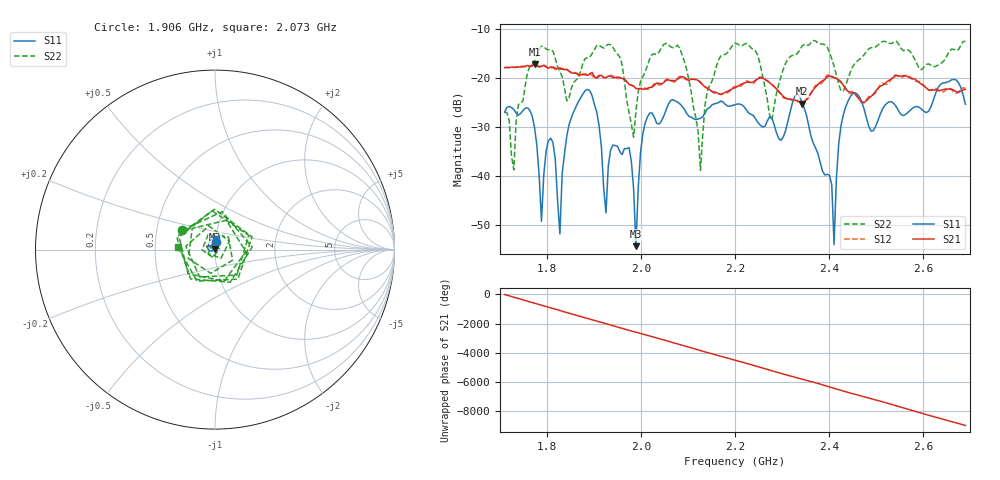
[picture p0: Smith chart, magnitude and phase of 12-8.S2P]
!Agilent Technologies,E5061B,MY49305579,A.02.22
!Date: Thu Aug 24 16:23:33 2017
!Data & Calibration Information:
!Freq	S11:SOLT2(ON)	S21:SOLT2(ON)	S12:SOLT2(ON)	S22:SOLT2(ON)
# Hz S dB R 50
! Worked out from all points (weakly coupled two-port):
!   201 points, 1.71 GHz to 2.69 GHz, reference 50 ohm
!   highest |S21| = -17.23 dB at 1.774 GHz (marker M1); lowest = -25.3 dB at 2.342 GHz (marker M2)
!   lowest |S11| = -54.4 dB at 1.989 GHz (marker M3), VSWR 1.00, Z = 49.9 + j0.163 ohm
!   |S11| at or under -10 dB: start of sweep to end of sweep
!   |S22| runs from -38.9 to -12.4 dB; largest |S21 - S12| = 0.0078
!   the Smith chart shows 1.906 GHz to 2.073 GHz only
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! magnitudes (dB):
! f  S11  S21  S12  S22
! 1.71 GHz  -27.0  -17.9  -17.9  -27.1
! 1.73 GHz  -26.5  -17.9  -17.8  -38.8
! 1.774 GHz  -30.2  -17.2  -17.4  -16.6
! 1.788 GHz  -49.3  -17.7  -17.5  -13.6
! 1.808 GHz  -32.3  -17.8  -18.1  -14.2
! 1.828 GHz  -51.9  -18.0  -18.3  -18.7
! 1.877 GHz  -23.3  -19.2  -19.4  -17.0
! 1.926 GHz  -47.6  -20.0  -20.0  -13.4
! 1.975 GHz  -34.2  -21.3  -21.4  -27.0
! 1.989 GHz  -54.4  -22.2  -22.2  -26.8
! 2.004 GHz  -31.4  -22.3  -22.0  -19.8
! 2.038 GHz  -29.5  -21.1  -21.5  -14.8
! 2.082 GHz  -25.3  -20.0  -19.7  -13.9
! 2.127 GHz  -28.3  -21.0  -20.9  -38.9
! 2.2 GHz  -25.5  -22.0  -21.7  -12.9
! 2.278 GHz  -28.2  -21.4  -21.4  -28.7
! 2.342 GHz  -24.9  -25.3  -24.9  -13.6
! 2.367 GHz  -33.4  -22.4  -22.2  -12.4
! 2.411 GHz  -54.1  -19.9  -20.0  -17.6
! 2.435 GHz  -26.0  -22.2  -22.2  -21.6
! 2.528 GHz  -24.9  -20.5  -20.9  -13.0
! 2.69 GHz  -25.4  -22.3  -22.1  -12.5
